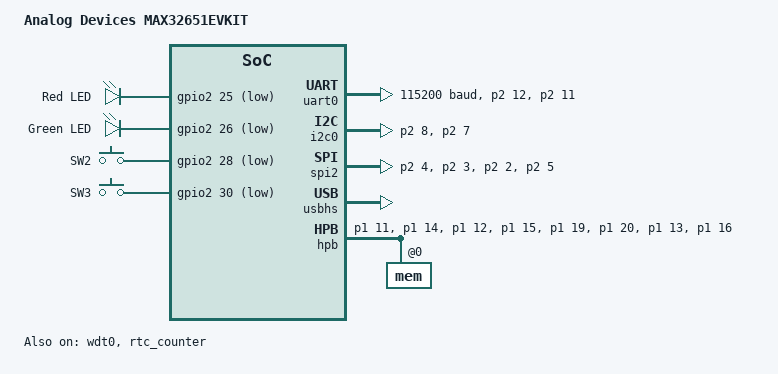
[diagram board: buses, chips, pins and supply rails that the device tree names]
/*
 * Copyright (c) 2026 Analog Devices, Inc.
 *
 * SPDX-License-Identifier: Apache-2.0
 */

/dts-v1/;

#include <adi/max32/max32650.dtsi>
#include <adi/max32/max32650-pinctrl.dtsi>
#include <zephyr/dt-bindings/gpio/adi-max32-gpio.h>
#include <zephyr/dt-bindings/input/input-event-codes.h>
#include <zephyr/dt-bindings/memory-controller/adi-max32-hpb.h>

/ {
	model = "Analog Devices MAX32651EVKIT";
	compatible = "adi,max32651evkit";

	chosen {
		zephyr,console = &uart0;
		zephyr,shell-uart = &uart0;
		zephyr,sram = &sram4;
		zephyr,flash = &flash0;
	};

	leds {
		compatible = "gpio-leds";

		led1: led_1 {
			gpios = <&gpio2 25 GPIO_ACTIVE_LOW>;
			label = "Red LED";
		};

		led2: led_2 {
			gpios = <&gpio2 26 GPIO_ACTIVE_LOW>;
			label = "Green LED";
		};
	};

	buttons {
		compatible = "gpio-keys";

		pb1: pb1 {
			gpios = <&gpio2 28 (GPIO_PULL_UP | GPIO_ACTIVE_LOW)>;
			label = "SW2";
			zephyr,code = <INPUT_KEY_0>;
		};

		pb2: pb2 {
			gpios = <&gpio2 30 (GPIO_PULL_UP | GPIO_ACTIVE_LOW)>;
			label = "SW3";
			zephyr,code = <INPUT_KEY_1>;
		};
	};

	/* These aliases are provided for compatibility with samples */
	aliases {
		led0 = &led1;
		led1 = &led2;
		sw0 = &pb1;
		watchdog0 = &wdt0;
	};

	sdram1: memory@60000000 {
		compatible = "zephyr,memory-region", "mmio-sram";
		reg = <0x60000000 DT_SIZE_M(8)>;
		zephyr,memory-region = "SDRAM1";
		status = "disabled";
	};
};

&uart0 {
	pinctrl-0 = <&uart0_tx_p2_12 &uart0_rx_p2_11>;
	pinctrl-names = "default";
	current-speed = <115200>;
	data-bits = <8>;
	parity = "none";
	dmas = <&dma0 4 MAX32_DMA_SLOT_UART0_TX>, <&dma0 5 MAX32_DMA_SLOT_UART0_RX>;
	dma-names = "tx", "rx";
	status = "okay";
};

&clk_ipo {
	status = "okay";
};

/*
 * ERTCO is required for counter RTC
 */
&clk_ertco {
	status = "okay";
};

&gpio0 {
	status = "okay";
};

&gpio1 {
	status = "okay";
};

&gpio2 {
	status = "okay";
};

&gpio3 {
	status = "okay";
};

&dma0 {
	status = "okay";
};

&i2c0 {
	pinctrl-0 = <&i2c0_scl_p2_8 &i2c0_sda_p2_7>;
	pinctrl-names = "default";
	status = "okay";
};

&spi2 {
	status = "okay";
	pinctrl-0 = <&spi2_mosi_p2_4 &spi2_miso_p2_3 &spi2_sck_p2_2 &spi2_ss0_p2_5>;
	pinctrl-names = "default";
};

&wdt0 {
	status = "okay";
};

&rtc_counter {
	status = "okay";
};

zephyr_udc0: &usbhs {
	status = "okay";
};

&hpb {
	pinctrl-0 = <&hyp_cs0_p1_11 &hyp_rwds_p1_14
		     &hyp_d0_p1_12 &hyp_d1_p1_15 &hyp_d2_p1_19
		     &hyp_d3_p1_20 &hyp_d4_p1_13 &hyp_d5_p1_16
		     &hyp_d6_p1_18 &hyp_d7_p1_21>;
	pinctrl-names = "default";
	enable-emcc;
	status = "okay";

	mem@0 {
		reg = <0>;
		base-address = <0x60000000>;
		device-type = <ADI_MAX32_HPB_DEV_TYPE_HYPER_RAM>;
		/* HPB runs from the 60 MHz peripheral clock on MAX32651.
		 *   - CS high 2.5 cycles = 41.7 ns
		 *   - CS setup/hold 1 cycle = 16.7 ns
		 */
		read-cs-high = <ADI_MAX32_HPB_CS_HIGH_2_5>;
		write-cs-high = <ADI_MAX32_HPB_CS_HIGH_2_5>;
		read-cs-setup = <ADI_MAX32_HPB_CS_SETUP_HOLD_1>;
		write-cs-setup = <ADI_MAX32_HPB_CS_SETUP_HOLD_1>;
		read-cs-hold = <ADI_MAX32_HPB_CS_SETUP_HOLD_1>;
		write-cs-hold = <ADI_MAX32_HPB_CS_SETUP_HOLD_1>;

		latency-cycles = <ADI_MAX32_HPB_LAT_6>;
		/* CR0 register at address 0x1000, default value is 0x8f2f
		 * Change to 0x8f1f to reduce clock latency from 7 to 6, to match
		 * latency-cycles above.
		 */
		config-regs = <0x1000>;
		config-reg-vals = <0x8f1f>;
	};
};
